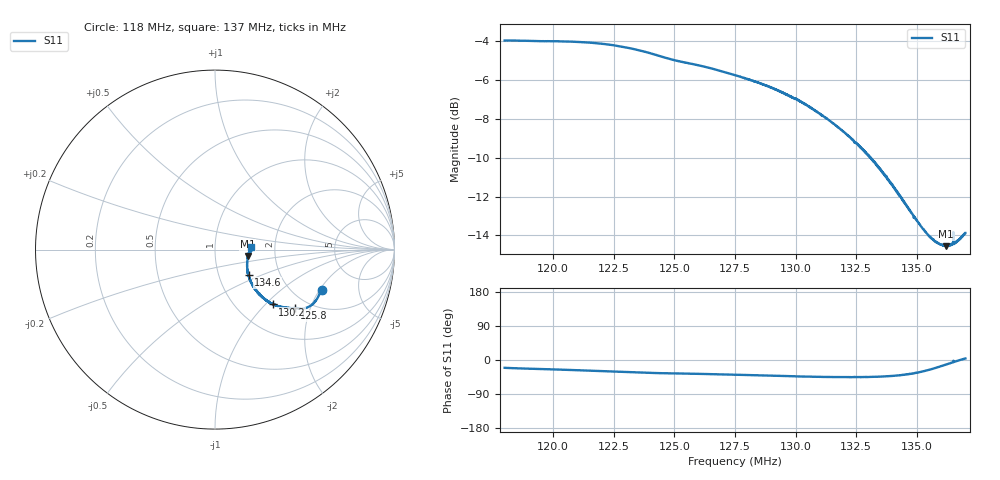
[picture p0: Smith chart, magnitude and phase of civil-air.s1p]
! Calibrated averaged scanner-service zoom
# Hz S RI R 50
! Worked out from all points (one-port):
!   2001 points, 118 MHz to 137 MHz, reference 50 ohm
!   lowest |S11| = -14.6 dB at 136.2 MHz (marker M1), VSWR 1.46, Z = 72.2 - j5.74 ohm
!   |S11| at or under -10 dB: 133.0755 MHz to 133.0776 MHz (2.106 kHz wide, 0.00158 % of centre); 133.1 MHz to end of sweep
!   S11 on the Smith chart (normalised r, x): 118 MHz: 2.78, -2.08; 125.8 MHz: 1.68, -1.57; 130.2 MHz: 1.45, -1.10; 134.6 MHz: 1.39, -0.42; 137 MHz: 1.51, +0.05
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1.18e8  0.5936 -0.2238
1.187315e8  0.5861 -0.2414
1.20375e8  0.5693 -0.2728
1.216765e8  0.5495 -0.2988
1.2275e8  0.5246 -0.3176
1.238995e8  0.491 -0.3289
1.246215e8  0.4695 -0.3285
1.25125e8  0.4578 -0.3262
1.257995e8  0.4447 -0.3255
1.275e8  0.4021 -0.3243
1.28792e8  0.366 -0.3182
1.29875e8  0.3313 -0.307
1.301695e8  0.3215 -0.3057
1.313475e8  0.2811 -0.2797
1.3225e8  0.2518 -0.2527
1.328295e8  0.2334 -0.2323
1.33314e8  0.2187 -0.2133
1.339315e8  0.2006 -0.1819
1.34625e8  0.1872 -0.1435
1.346345e8  0.1867 -0.1418
1.351475e8  0.1801 -0.1109
1.35499e8  0.1787 -0.087
1.35727e8  0.1794 -0.0717
1.358885e8  0.1801 -0.0607
1.362115e8  0.1833 -0.0384
1.363825e8  0.1872 -0.0271
1.3662e8  0.1922 -0.0111
1.37e8  0.2019 0.0144
